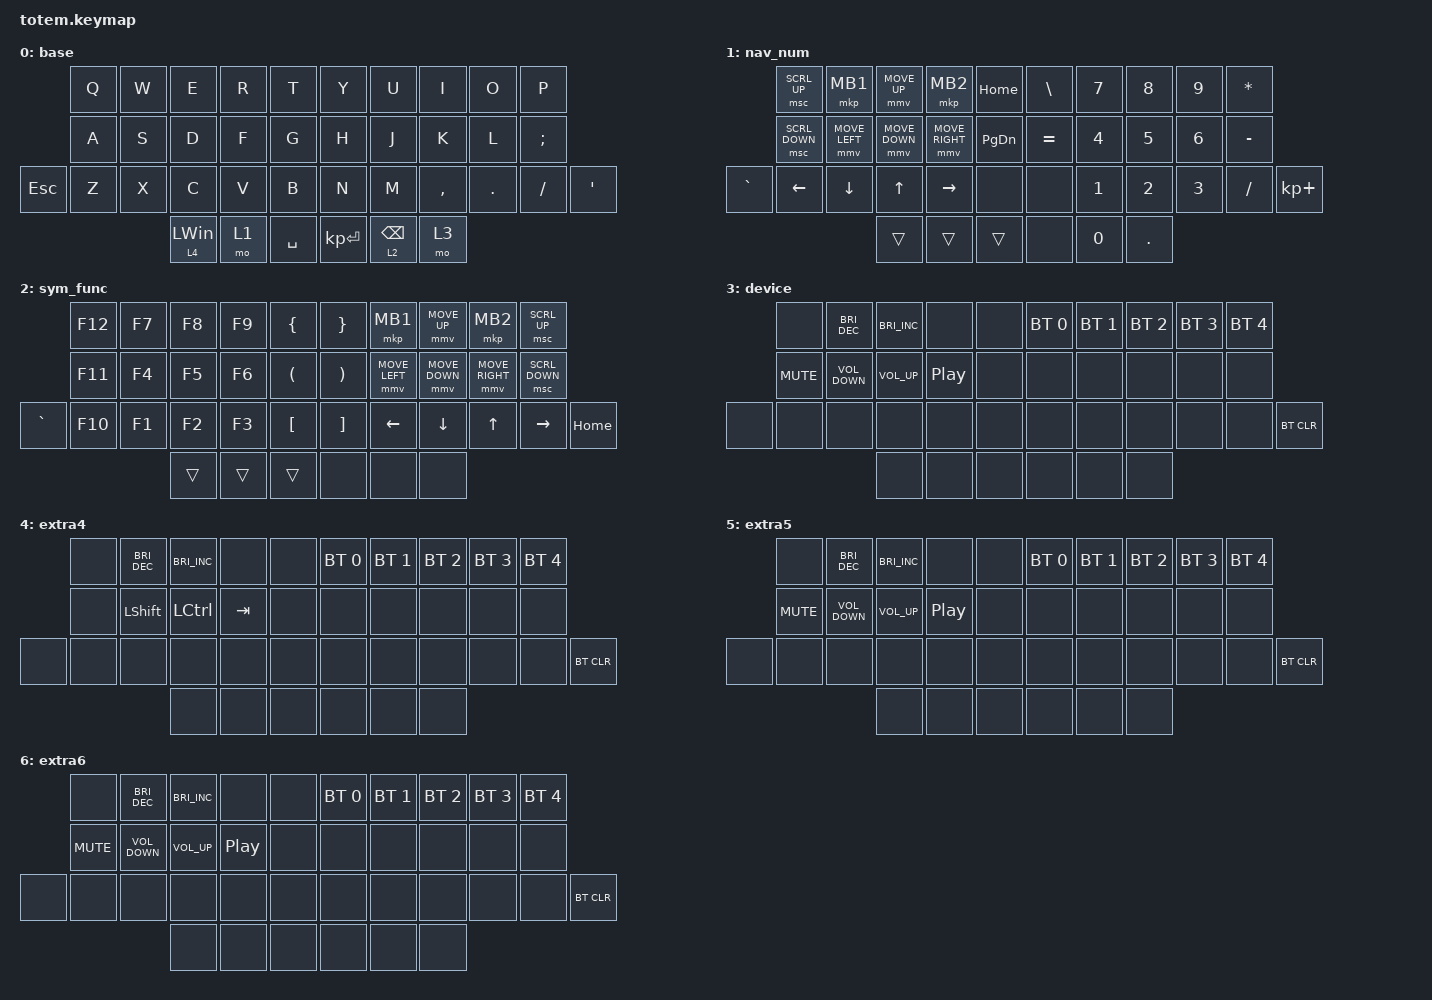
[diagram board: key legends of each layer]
//
//                                                        ▀▀▀▀▀     ▀▀▀▀▀          ▀▀█▀▀
//                                                        ▄▀▀▀▄  ▄  ▄▀▀▀▄  ▄  ▄▀▀▀▄  █  ▄▀▀▀▄
//                                                        █   █  █  █   █  █  █   █  █  █   █
//                                                         ▀▀▀   █   ▀▀▀   █   ▀▀▀   ▀   ▀▀▀
//                                                               █      ▄▄▄█▄▄▄    █   █  
//                                                               ▀      █  █  █     █▄█
//                                                             ▀▀▀▀▀    █  █  █      ▀
//                                                                      ▀  ▀  ▀
//
// ▄▄▄▄▄▄▄▄▄▄▄▄▄▄▄▄▄▄▄▄▄▄▄▄▄▄▄▄▄▄▄▄▄▄▄▄▄▄▄▄▄▄▄▄▄▄▄▄▄▄▄▄▄▄▄▄▄▄▄▄▄▄▄▄▄▄▄▄▄▄▄▄▄▄▄▄▄▄▄▄▄▄▄▄▄▄▄▄▄▄▄▄▄▄▄▄▄▄▄▄▄▄▄▄▄▄▄▄▄▄▄▄▄▄▄▄▄▄▄▄▄▄▄▄▄▄▄▄▄▄▄▄▄▄▄▄▄▄▄▄▄▄▄▄▄▄▄▄▄

#include <behaviors.dtsi>
#include <dt-bindings/zmk/bt.h>
#include <dt-bindings/zmk/keys.h>
#include <dt-bindings/zmk/pointing.h>

/ {
    combos {
        compatible = "zmk,combos";

        ComboLshift {
            bindings = <&kp LEFT_SHIFT>;
            key-positions = <13 3>;
        };

        ComboLctrl {
            bindings = <&kp LEFT_CONTROL>;
            key-positions = <12 2>;
        };

        CmbLalt {
            bindings = <&kp LEFT_ALT>;
            key-positions = <11 1>;
        };

        CmbRshift {
            bindings = <&kp RIGHT_SHIFT>;
            key-positions = <16 6>;
        };

        CmbRctrl {
            bindings = <&kp RIGHT_CONTROL>;
            key-positions = <17 7>;
        };

        CmbRalt {
            bindings = <&kp RIGHT_ALT>;
            key-positions = <18 8>;
        };
    };

    keymap {
        compatible = "zmk,keymap";

        base {
            bindings = <
            &kp Q  &kp W  &kp E           &kp R  &kp T        &kp Y         &kp U            &kp I      &kp O    &kp P
            &kp A  &kp S  &kp D           &kp F  &kp G        &kp H         &kp J            &kp K      &kp L    &kp SEMI
&kp ESCAPE  &kp Z  &kp X  &kp C           &kp V  &kp B        &kp N         &kp M            &kp COMMA  &kp DOT  &kp FSLH  &kp APOS
                          &lt 4 LEFT_WIN  &mo 1  &kp SPACE    &kp KP_ENTER  &lt 2 BACKSPACE  &mo 3
            >;
        };

        nav_num {
            bindings = <
           &msc SCRL_UP    &mkp MB1        &mmv MOVE_UP    &mkp MB2         &kp HOME         &kp BACKSLASH  &kp NUMBER_7  &kp NUMBER_8  &kp NUMBER_9  &kp ASTERISK
           &msc SCRL_DOWN  &mmv MOVE_LEFT  &mmv MOVE_DOWN  &mmv MOVE_RIGHT  &kp PAGE_DOWN    &kp EQUAL      &kp NUMBER_4  &kp NUMBER_5  &kp NUMBER_6  &kp MINUS
&kp GRAVE  &kp LEFT_ARROW  &kp DOWN_ARROW  &kp UP_ARROW    &kp RIGHT_ARROW  &none            &none          &kp NUMBER_1  &kp NUMBER_2  &kp NUMBER_3  &kp FSLH      &kp KP_PLUS
                                           &trans          &trans           &trans           &none          &kp NUMBER_0  &kp PERIOD
            >;
        };

        sym_func {
            bindings = <
           &kp F12  &kp F7  &kp F8  &kp F9  &kp LEFT_BRACE          &kp RIGHT_BRACE        &mkp MB1        &mmv MOVE_UP    &mkp MB2         &msc SCRL_UP
           &kp F11  &kp F4  &kp F5  &kp F6  &kp LEFT_PARENTHESIS    &kp RIGHT_PARENTHESIS  &mmv MOVE_LEFT  &mmv MOVE_DOWN  &mmv MOVE_RIGHT  &msc SCRL_DOWN
&kp GRAVE  &kp F10  &kp F1  &kp F2  &kp F3  &kp LEFT_BRACKET        &kp RIGHT_BRACKET      &kp LEFT_ARROW  &kp DOWN_ARROW  &kp UP_ARROW     &kp RIGHT_ARROW  &kp HOME
                            &trans  &trans  &trans                  &none                  &none           &none
            >;
        };

        device {
            bindings = <
       &none       &kp C_BRIGHTNESS_DEC  &kp C_BRIGHTNESS_INC  &none             &none    &bt BT_SEL 0  &bt BT_SEL 1  &bt BT_SEL 2  &bt BT_SEL 3  &bt BT_SEL 4
       &kp K_MUTE  &kp C_VOLUME_DOWN     &kp C_VOLUME_UP       &kp C_PLAY_PAUSE  &none    &none         &none         &none         &none         &none
&none  &none       &none                 &none                 &none             &none    &none         &none         &none         &none         &none         &bt BT_CLR
                                         &none                 &none             &none    &none         &none         &none
            >;
        };

        extra4 {
            bindings = <
       &none  &kp C_BRIGHTNESS_DEC  &kp C_BRIGHTNESS_INC  &none    &none    &bt BT_SEL 0  &bt BT_SEL 1  &bt BT_SEL 2  &bt BT_SEL 3  &bt BT_SEL 4
       &none  &kp LEFT_SHIFT        &kp LEFT_CONTROL      &kp TAB  &none    &none         &none         &none         &none         &none
&none  &none  &none                 &none                 &none    &none    &none         &none         &none         &none         &none         &bt BT_CLR
                                    &none                 &none    &none    &none         &none         &none
            >;
        };

        extra5 {
            bindings = <
       &none       &kp C_BRIGHTNESS_DEC  &kp C_BRIGHTNESS_INC  &none             &none    &bt BT_SEL 0  &bt BT_SEL 1  &bt BT_SEL 2  &bt BT_SEL 3  &bt BT_SEL 4
       &kp K_MUTE  &kp C_VOLUME_DOWN     &kp C_VOLUME_UP       &kp C_PLAY_PAUSE  &none    &none         &none         &none         &none         &none
&none  &none       &none                 &none                 &none             &none    &none         &none         &none         &none         &none         &bt BT_CLR
                                         &none                 &none             &none    &none         &none         &none
            >;
        };

        extra6 {
            bindings = <
       &none       &kp C_BRIGHTNESS_DEC  &kp C_BRIGHTNESS_INC  &none             &none    &bt BT_SEL 0  &bt BT_SEL 1  &bt BT_SEL 2  &bt BT_SEL 3  &bt BT_SEL 4
       &kp K_MUTE  &kp C_VOLUME_DOWN     &kp C_VOLUME_UP       &kp C_PLAY_PAUSE  &none    &none         &none         &none         &none         &none
&none  &none       &none                 &none                 &none             &none    &none         &none         &none         &none         &none         &bt BT_CLR
                                         &none                 &none             &none    &none         &none         &none
            >;
        };

        extra7 { status = "reserved"; };
    };

    conditional_layers { compatible = "zmk,conditional-layers"; };
};
